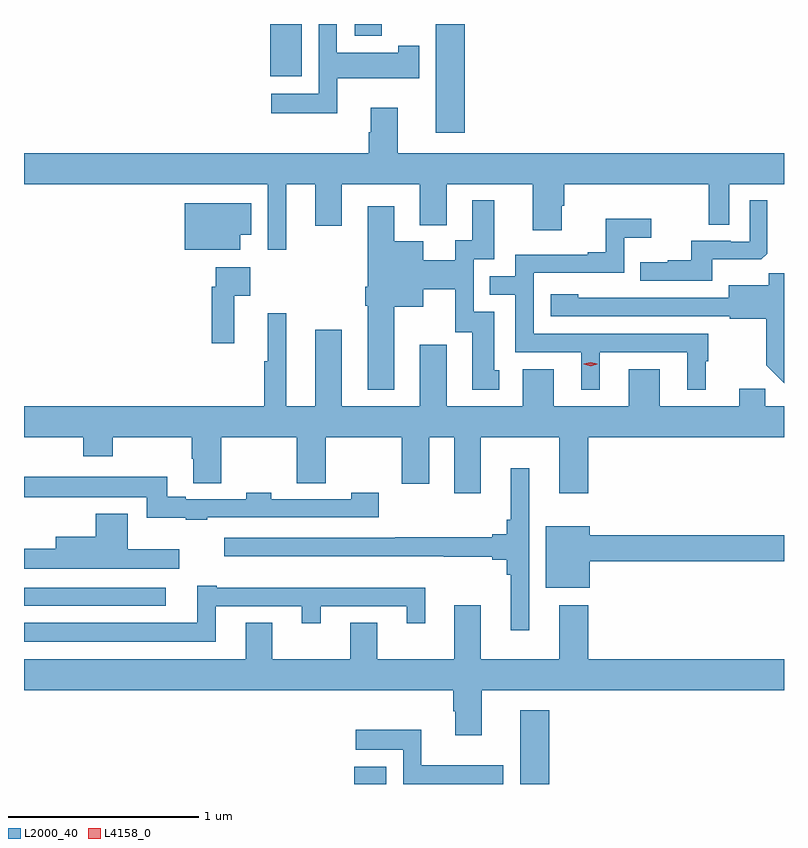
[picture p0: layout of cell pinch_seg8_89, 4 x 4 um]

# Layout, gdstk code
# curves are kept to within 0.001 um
import gdstk
lib = gdstk.Library(unit=1e-6, precision=1e-09)
def R(c, l, rs):  # rectangles x0, y0, x1, y1
    for r in rs: c.add(gdstk.rectangle(r[:2], r[2:], *l))
def P(c, l, *ps):  # polygons
    for p in ps: c.add(gdstk.Polygon(p, *l))
L2000_40 = (2000, 40)
L4158_0 = (4158, 0)

pinch_seg8_89 = lib.new_cell('pinch_seg8_89')
R(pinch_seg8_89, L2000_40, [(1094.432,1098.691,1094.599,1098.781), (1095.305,1098.691,1095.458,1099.078), (1092.693,1099.629,1093.438,1099.725), (1094.861,1102.119,1095.014,1102.691), (1093.988,1102.416,1094.155,1102.691), (1094.433,1102.628,1094.575,1102.691)])
P(pinch_seg8_89, L2000_40, [(1094.341,1102.406),(1094.772,1102.406),(1094.772,1102.576),(1094.664,1102.576),(1094.664,1102.54),(1094.34,1102.54),(1094.34,1102.691),(1094.244,1102.691),(1094.244,1102.324),(1093.995,1102.324),(1093.995,1102.22),(1094.341,1102.22)],
  [(1094.074,1101.848),(1094.225,1101.848),(1094.225,1101.63),(1094.365,1101.63),(1094.365,1101.848),(1094.777,1101.848),(1094.777,1101.632),(1094.917,1101.632),(1094.917,1101.848),(1095.371,1101.848),(1095.371,1101.606),(1095.523,1101.606),(1095.523,1101.735),(1095.536,1101.735),(1095.536,1101.848),(1096.296,1101.848),(1096.296,1101.634),(1096.404,1101.634),(1096.404,1101.848),(1096.693,1101.848),(1096.693,1102.012),(1094.659,1102.012),(1094.659,1102.249),(1094.519,1102.249),(1094.519,1102.122),(1094.507,1102.122),(1094.507,1102.012),(1092.693,1102.012),(1092.693,1101.848),(1093.977,1101.848),(1093.977,1101.504),(1094.074,1101.504)],
  [(1094.641,1101.203),(1094.794,1101.203),(1094.794,1101.296),(1094.964,1101.296),(1094.964,1101.069),(1095.053,1101.069),(1095.053,1100.766),(1095.193,1100.766),(1095.193,1100.868),(1095.169,1100.868),(1095.169,1101.177),(1095.06,1101.177),(1095.06,1101.453),(1095.169,1101.453),(1095.169,1101.763),(1095.053,1101.763),(1095.053,1101.554),(1094.963,1101.554),(1094.963,1101.448),(1094.794,1101.448),(1094.794,1101.547),(1094.641,1101.547),(1094.641,1101.733),(1094.501,1101.733),(1094.501,1101.307),(1094.489,1101.307),(1094.489,1101.207),(1094.501,1101.207),(1094.501,1100.765),(1094.641,1100.765)],
  [(1096.315,1101.452),(1096.573,1101.452),(1096.605,1101.483),(1096.605,1101.763),(1096.512,1101.763),(1096.512,1101.546),(1096.412,1101.546),(1096.412,1101.549),(1096.205,1101.549),(1096.205,1101.448),(1096.081,1101.448),(1096.081,1101.436),(1095.937,1101.436),(1095.937,1101.339),(1096.315,1101.339)],
  [(1093.831,1101.581),(1093.888,1101.581),(1093.888,1101.748),(1093.538,1101.748),(1093.538,1101.503),(1093.831,1101.503)],
  [(1095.724,1100.964),(1096.184,1100.964),(1096.184,1100.765),(1096.282,1100.765),(1096.282,1100.916),(1096.294,1100.916),(1096.294,1101.06),(1095.375,1101.06),(1095.375,1101.381),(1095.852,1101.381),(1095.852,1101.566),(1095.994,1101.566),(1095.994,1101.665),(1095.754,1101.665),(1095.754,1101.49),(1095.659,1101.49),(1095.659,1101.477),(1095.279,1101.477),(1095.279,1101.363),(1095.145,1101.363),(1095.145,1101.267),(1095.279,1101.267),(1095.279,1100.964),(1095.626,1100.964),(1095.626,1100.765),(1095.724,1100.765)],
  [(1093.799,1101.26),(1093.885,1101.26),(1093.885,1101.412),(1093.701,1101.412),(1093.701,1101.308),(1093.681,1101.308),(1093.681,1101.012),(1093.799,1101.012)],
  [(1096.693,1101.38),(1096.614,1101.38),(1096.614,1101.316),(1096.403,1101.316),(1096.403,1101.249),(1095.609,1101.25),(1095.609,1101.268),(1095.465,1101.268),(1095.465,1101.153),(1096.407,1101.153),(1096.407,1101.141),(1096.599,1101.141),(1096.599,1100.895),(1096.693,1100.801)],
  [(1095.097,1100.516),(1095.509,1100.516),(1095.509,1100.22),(1095.662,1100.22),(1095.662,1100.516),(1096.693,1100.516),(1096.693,1100.68),(1096.595,1100.68),(1096.595,1100.771),(1096.457,1100.771),(1096.457,1100.68),(1096.039,1100.68),(1096.039,1100.875),(1095.875,1100.875),(1095.875,1100.68),(1095.481,1100.68),(1095.481,1100.875),(1095.317,1100.875),(1095.317,1100.68),(1094.917,1100.68),(1094.917,1101.004),(1094.777,1101.004),(1094.777,1100.68),(1094.365,1100.68),(1094.365,1101.082),(1094.225,1101.082),(1094.225,1100.68),(1094.074,1100.68),(1094.074,1101.169),(1093.976,1101.169),(1093.976,1100.916),(1093.957,1100.916),(1093.957,1100.68),(1092.693,1100.68),(1092.693,1100.516),(1093.006,1100.516),(1093.006,1100.417),(1093.161,1100.417),(1093.161,1100.516),(1093.576,1100.516),(1093.576,1100.404),(1093.583,1100.404),(1093.583,1100.275),(1093.73,1100.275),(1093.73,1100.516),(1094.128,1100.516),(1094.128,1100.275),(1094.282,1100.275),(1094.282,1100.516),(1094.68,1100.516),(1094.68,1100.271),(1094.827,1100.271),(1094.827,1100.516),(1094.957,1100.516),(1094.957,1100.22),(1095.097,1100.22)],
  [(1095.351,1100.353),(1095.254,1100.353),(1095.254,1100.083),(1095.235,1100.083),(1095.235,1100.006),(1095.158,1100.006),(1095.158,1099.989),(1094.858,1099.989),(1094.858,1099.991),(1094.647,1099.991),(1094.647,1099.986),(1093.746,1099.986),(1093.746,1099.889),(1094.902,1099.889),(1094.902,1099.888),(1095.158,1099.888),(1095.158,1099.87),(1095.235,1099.87),(1095.235,1099.793),(1095.254,1099.793),(1095.254,1099.5),(1095.351,1099.5)],
  [(1093.658,1100.094),(1094.56,1100.094),(1094.56,1100.223),(1094.415,1100.223),(1094.415,1100.19),(1093.995,1100.19),(1093.995,1100.223),(1093.863,1100.223),(1093.863,1100.19),(1093.543,1100.19),(1093.543,1100.203),(1093.447,1100.203),(1093.447,1100.308),(1092.693,1100.308),(1092.693,1100.201),(1093.34,1100.201),(1093.34,1100.093),(1093.544,1100.093),(1093.544,1100.082),(1093.658,1100.082)],
  [(1093.51,1099.927),(1093.24,1099.927),(1093.24,1100.113),(1093.07,1100.113),(1093.07,1099.993),(1092.86,1099.993),(1092.86,1099.93),(1092.693,1099.93),(1092.693,1099.823),(1093.51,1099.823)],
  [(1095.67,1099.864),(1096.693,1099.864),(1096.693,1100),(1095.67,1100),(1095.67,1100.047),(1095.44,1100.047),(1095.44,1099.724),(1095.67,1099.724)],
  [(1093.702,1099.626),(1094.156,1099.626),(1094.156,1099.536),(1094.254,1099.536),(1094.254,1099.626),(1094.708,1099.626),(1094.708,1099.536),(1094.806,1099.536),(1094.806,1099.723),(1093.708,1099.723),(1093.708,1099.735),(1093.604,1099.735),(1093.604,1099.54),(1092.693,1099.54),(1092.693,1099.439),(1093.702,1099.439)],
  [(1095.103,1099.184),(1096.693,1099.184),(1096.693,1099.348),(1095.662,1099.348),(1095.662,1099.633),(1095.509,1099.633),(1095.509,1099.348),(1095.097,1099.348),(1095.097,1099.633),(1094.957,1099.633),(1094.957,1099.348),(1094.551,1099.348),(1094.551,1099.541),(1094.411,1099.541),(1094.411,1099.348),(1093.999,1099.348),(1093.999,1099.541),(1093.859,1099.541),(1093.859,1099.348),(1092.693,1099.348),(1092.693,1099.184),(1094.951,1099.184),(1094.951,1099.074),(1094.963,1099.074),(1094.963,1098.948),(1095.103,1098.948)],
  [(1095.216,1098.79),(1094.785,1098.79),(1094.785,1098.976),(1094.439,1098.976),(1094.439,1098.872),(1094.688,1098.872),(1094.688,1098.691),(1095.216,1098.691)])
P(pinch_seg8_89, L4158_0, [(1095.675,1100.891),(1095.639,1100.901),(1095.639,1100.901),(1095.639,1100.902),(1095.675,1100.911),(1095.711,1100.902),(1095.711,1100.901),(1095.711,1100.901)])

lib.write_gds('pinch_seg8_89.gds')
